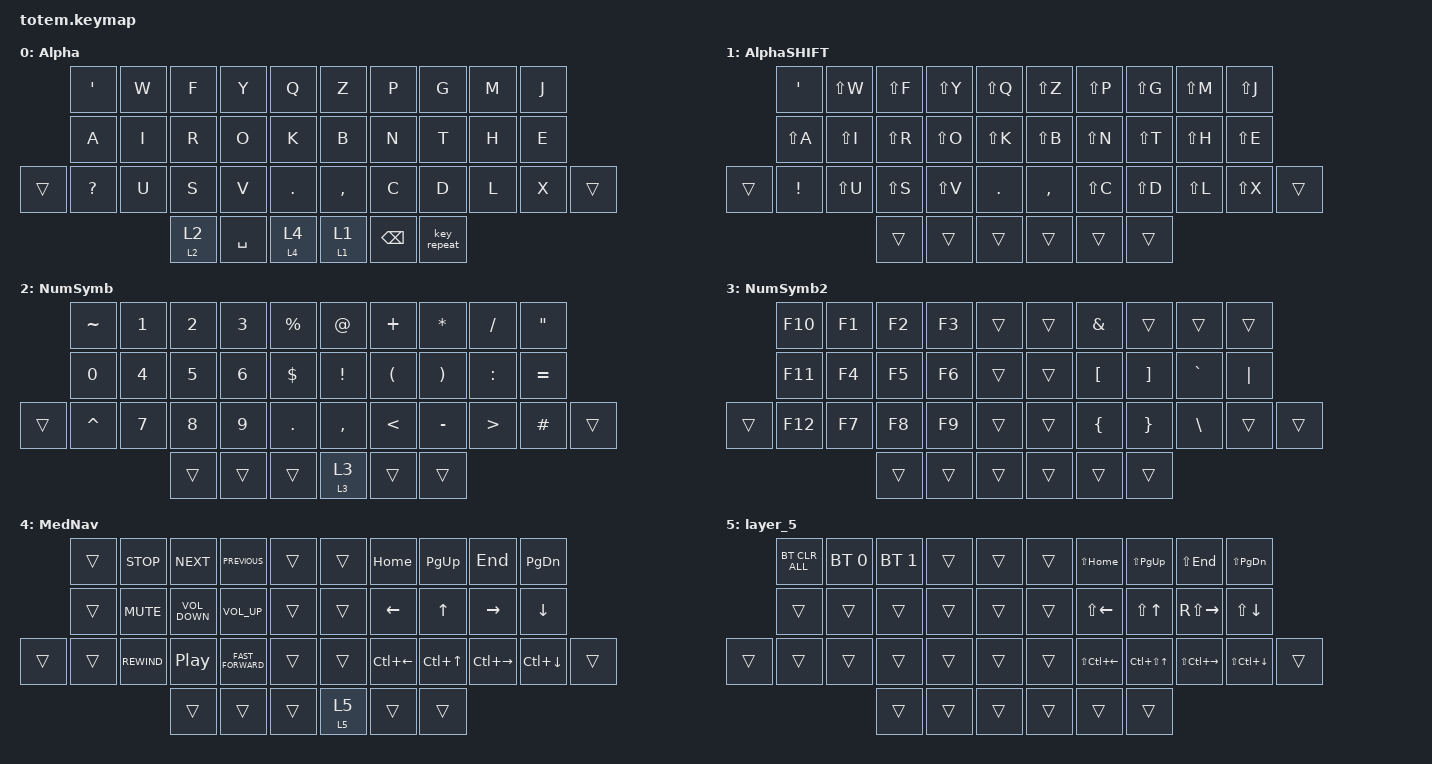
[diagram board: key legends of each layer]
#include <behaviors.dtsi>
#include <dt-bindings/zmk/bt.h>
#include <dt-bindings/zmk/keys.h>

#define BASE 0
#define NAV  1
#define SYM  2
#define ADJ  3

&mt {
    quick-tap-ms = <100>;
    global-quick-tap;
    flavor = "tap-preferred";
    tapping-term-ms = <170>;
};

/ {
    combos {
        compatible = "zmk,combos";

        Esc {
            timeout-ms = <50>;
            key-positions = <0 1 2 3>;
            bindings = <&kp ESC>;
        };

        Enter {
            bindings = <&kp ENTER>;
            key-positions = <28 29 30 27>;
        };

        Tab {
            bindings = <&kp TAB>;
            key-positions = <1 2 3>;
        };

        S_Tab {
            bindings = <&kp LS(TAB)>;
            key-positions = <1 2 0>;
        };

        C_Backspace {
            bindings = <&kp LC(BACKSPACE)>;
            key-positions = <6 8 7>;
        };

        C_DEL {
            bindings = <&kp LC(DEL)>;
            key-positions = <7 8 9>;
        };

        S_Enter {
            bindings = <&kp LS(ENTER)>;
            key-positions = <28 29 30>;
        };

        undersc {
            bindings = <&kp UNDERSCORE>;
            key-positions = <36 33>;
        };
    };

    macros {
        gif: gif {
            label = "giphy";
            compatible = "zmk,behavior-macro";
            #binding-cells = <0>;
            bindings =
                <&macro_press>,
                <&kp LSHFT>,
                <&macro_tap>,
                <&kp N2>,
                <&macro_release>,
                <&kp LSHFT>,
                <&macro_tap>,
                <&kp G &kp I &kp F>;
        };
    };

    behaviors {
        mosl: mosl {
            compatible = "zmk,behavior-hold-tap";
            label = "MOSL";
            bindings = <&mo>, <&sl>;

            #binding-cells = <2>;
            flavor = "tap-preferred";
            quick-tap-ms = <100>;
            tapping-term-ms = <170>;
        };
    };

    keymap {
        compatible = "zmk,keymap";

        Alpha {
            bindings = <
        &kp SQT       &kp W  &kp F      &kp Y      &kp Q         &kp Z      &kp P          &kp G        &kp M  &kp J
        &kp A         &kp I  &kp R      &kp O      &kp K         &kp B      &kp N          &kp T        &kp H  &kp E
&trans  &kp QUESTION  &kp U  &kp S      &kp V      &kp PERIOD    &kp COMMA  &kp C          &kp D        &kp L  &kp X  &trans
                             &mosl 2 2  &kp SPACE  &mosl 4 4     &mosl 1 1  &kp BACKSPACE  &key_repeat
            >;
        };

        AlphaSHIFT {
            bindings = <
        &kp SQT          &kp LS(W)  &kp LS(F)  &kp LS(Y)  &kp LS(Q)     &kp LS(Z)  &kp LS(P)  &kp LS(G)  &kp LS(M)  &kp LS(J)
        &kp LS(A)        &kp LS(I)  &kp LS(R)  &kp LS(O)  &kp LS(K)     &kp LS(B)  &kp LS(N)  &kp LS(T)  &kp LS(H)  &kp LS(E)
&trans  &kp EXCLAMATION  &kp LS(U)  &kp LS(S)  &kp LS(V)  &kp PERIOD    &kp COMMA  &kp LS(C)  &kp LS(D)  &kp LS(L)  &kp LS(X)  &trans
                                    &trans     &trans     &trans        &trans     &trans     &trans
            >;
        };

        NumSymb {
            bindings = <
        &kp TILDE  &kp NUMBER_1  &kp NUMBER_2  &kp NUMBER_3  &kp PERCENT    &kp AT_SIGN      &kp PLUS              &kp ASTERISK           &kp SLASH         &kp DOUBLE_QUOTES
        &kp N0     &kp NUMBER_4  &kp N5        &kp NUMBER_6  &kp DOLLAR     &kp EXCLAMATION  &kp LEFT_PARENTHESIS  &kp RIGHT_PARENTHESIS  &kp COLON         &kp EQUAL
&trans  &kp CARET  &kp N7        &kp N8        &kp N9        &kp PERIOD     &kp COMMA        &kp LESS_THAN         &kp MINUS              &kp GREATER_THAN  &kp HASH           &trans
                                 &trans        &trans        &trans         &mosl 3 3        &trans                &trans
            >;
        };

        NumSymb2 {
            bindings = <
        &kp F10  &kp F1  &kp F2  &kp F3  &trans    &trans  &kp AMPERSAND     &trans             &trans         &trans
        &kp F11  &kp F4  &kp F5  &kp F6  &trans    &trans  &kp LEFT_BRACKET  &kp RIGHT_BRACKET  &kp GRAVE      &kp PIPE
&trans  &kp F12  &kp F7  &kp F8  &kp F9  &trans    &trans  &kp LEFT_BRACE    &kp RIGHT_BRACE    &kp BACKSLASH  &trans    &trans
                         &trans  &trans  &trans    &trans  &trans            &trans
            >;
        };

        MedNav {
            bindings = <
        &trans  &kp C_STOP    &kp C_NEXT         &kp K_PREVIOUS      &trans    &trans     &kp HOME      &kp PG_UP   &kp END        &kp PG_DN
        &trans  &kp C_MUTE    &kp C_VOLUME_DOWN  &kp C_VOLUME_UP     &trans    &trans     &kp LEFT      &kp UP      &kp RIGHT      &kp DOWN
&trans  &trans  &kp C_REWIND  &kp C_PLAY_PAUSE   &kp C_FAST_FORWARD  &trans    &trans     &kp LC(LEFT)  &kp LC(UP)  &kp LC(RIGHT)  &kp LC(DOWN)  &trans
                              &trans             &trans              &trans    &mosl 5 5  &trans        &trans
            >;
        };

        layer_5 {
            bindings = <
        &bt BT_CLR_ALL  &bt BT_SEL 0  &bt BT_SEL 1  &trans  &trans    &trans  &kp LS(HOME)      &kp LS(PG_UP)   &kp LS(END)        &kp LS(PG_DN)
        &trans          &trans        &trans        &trans  &trans    &trans  &kp LS(LEFT)      &kp LS(UP)      &kp RS(RIGHT)      &kp LS(DOWN)
&trans  &trans          &trans        &trans        &trans  &trans    &trans  &kp LS(LC(LEFT))  &kp LC(LS(UP))  &kp LS(LC(RIGHT))  &kp LS(LC(DOWN))  &trans
                                      &trans        &trans  &trans    &trans  &trans            &trans
            >;
        };
    };
};
